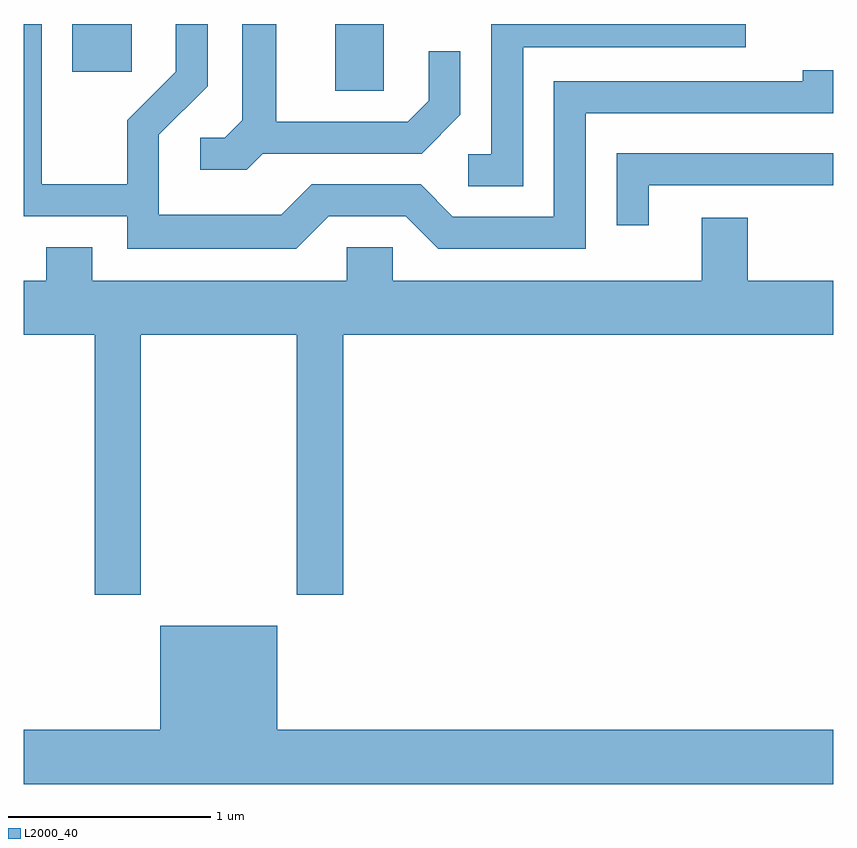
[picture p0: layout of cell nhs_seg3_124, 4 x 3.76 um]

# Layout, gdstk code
import gdstk
lib = gdstk.Library(unit=1e-6, precision=1e-09)
def R(c, l, rs):  # rectangles x0, y0, x1, y1
    for r in rs: c.add(gdstk.rectangle(r[:2], r[2:], *l))
def P(c, l, *ps):  # polygons
    for p in ps: c.add(gdstk.Polygon(p, *l))
L2000_40 = (2000, 40)

nhs_seg3_124 = lib.new_cell('nhs_seg3_124')
R(nhs_seg3_124, L2000_40, [(189.151,1231.561,189.389,1231.892), (187.851,1231.656,188.144,1231.892)])
P(nhs_seg3_124, L2000_40, [(189.117,1230.941),(189.499,1230.941),(189.659,1230.781),(190.389,1230.781),(190.389,1231.451),(191.611,1231.451),(191.611,1231.664),(191.461,1231.664),(191.461,1231.609),(190.231,1231.609),(190.231,1230.939),(189.732,1230.939),(189.572,1231.099),(189.034,1231.099),(188.884,1230.949),(188.279,1230.949),(188.279,1231.344),(188.519,1231.584),(188.519,1231.892),(188.361,1231.892),(188.361,1231.657),(188.121,1231.417),(188.121,1231.099),(187.699,1231.099),(187.699,1231.892),(187.611,1231.892),(187.611,1230.941),(188.121,1230.941),(188.121,1230.781),(188.957,1230.781)],
  [(188.792,1231.251),(189.577,1231.251),(189.769,1231.444),(189.769,1231.758),(189.611,1231.758),(189.611,1231.512),(189.509,1231.409),(188.859,1231.409),(188.859,1231.892),(188.691,1231.892),(188.691,1231.417),(188.604,1231.329),(188.483,1231.329),(188.483,1231.171),(188.712,1231.171)],
  [(190.079,1231.776),(191.178,1231.776),(191.178,1231.892),(189.921,1231.892),(189.921,1231.249),(189.808,1231.249),(189.808,1231.091),(190.079,1231.091)],
  [(190.699,1231.096),(191.611,1231.096),(191.611,1231.254),(190.541,1231.254),(190.541,1230.898),(190.699,1230.898)],
  [(188.189,1230.356),(188.961,1230.356),(188.961,1229.071),(189.189,1229.071),(189.189,1230.356),(191.611,1230.356),(191.611,1230.624),(191.189,1230.624),(191.189,1230.934),(190.961,1230.934),(190.961,1230.624),(189.434,1230.624),(189.434,1230.789),(189.206,1230.789),(189.206,1230.624),(187.949,1230.624),(187.949,1230.789),(187.721,1230.789),(187.721,1230.624),(187.611,1230.624),(187.611,1230.356),(187.961,1230.356),(187.961,1229.071),(188.189,1229.071)],
  [(191.611,1228.404),(188.864,1228.404),(188.864,1228.919),(188.286,1228.919),(188.286,1228.404),(187.611,1228.404),(187.611,1228.136),(191.611,1228.136)])

lib.write_gds('nhs_seg3_124.gds')
